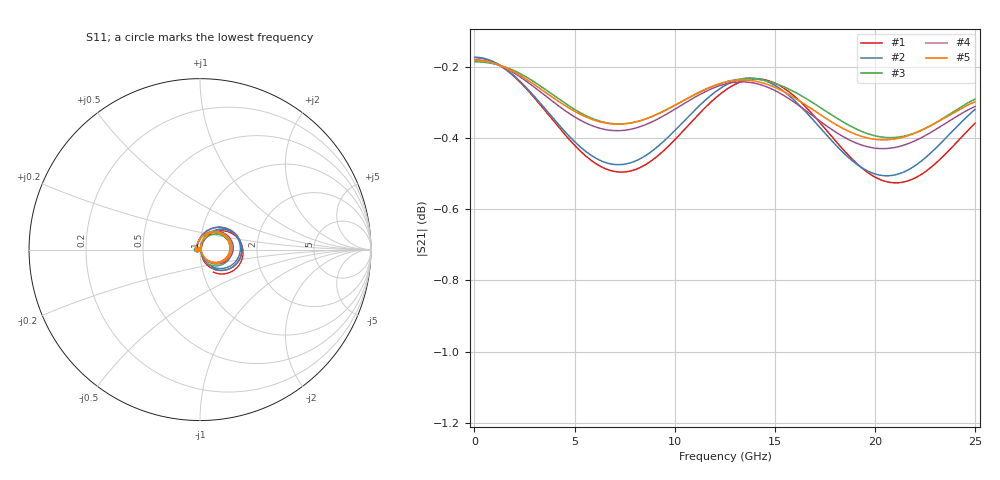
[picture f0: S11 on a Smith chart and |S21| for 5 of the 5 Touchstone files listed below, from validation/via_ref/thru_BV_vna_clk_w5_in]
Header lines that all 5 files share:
! thru_BV_vna_clk_w5_in: 2×thru F.Cu, 6 mm
! stackup: as the board case
! ports: 1 near, 2 far
# Hz S RI R 50
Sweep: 25 MHz to 25 GHz
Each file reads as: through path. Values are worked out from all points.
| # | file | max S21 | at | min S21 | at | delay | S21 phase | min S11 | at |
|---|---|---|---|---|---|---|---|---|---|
| 1 | cst.s2p | -0.17 dB | 25 MHz | -0.5 dB | 21.05 GHz | 36.9 ps | -166 deg at 12.53 GHz | -43.3 dB | 14 GHz |
| 2 | cst_fine.s2p | -0.17 dB | 25 MHz | -0.5 dB | 20.6 GHz | 36.8 ps | -165 deg at 12.53 GHz | -42.7 dB | 13.7 GHz |
| 3 | kisi.s2p | -0.19 dB | 25 MHz | -0.4 dB | 20.77 GHz | 37.1 ps | -166 deg at 12.53 GHz | -46.9 dB | 13.57 GHz |
| 4 | openems.s2p | -0.18 dB | 25 MHz | -0.4 dB | 20.4 GHz | 37.2 ps | -167 deg at 12.53 GHz | -45.3 dB | 13.32 GHz |
| 5 | openems_base.s2p | -0.18 dB | 25 MHz | -0.4 dB | 20.43 GHz | 37.1 ps | -166 deg at 12.53 GHz | -45.8 dB | 13.35 GHz |
